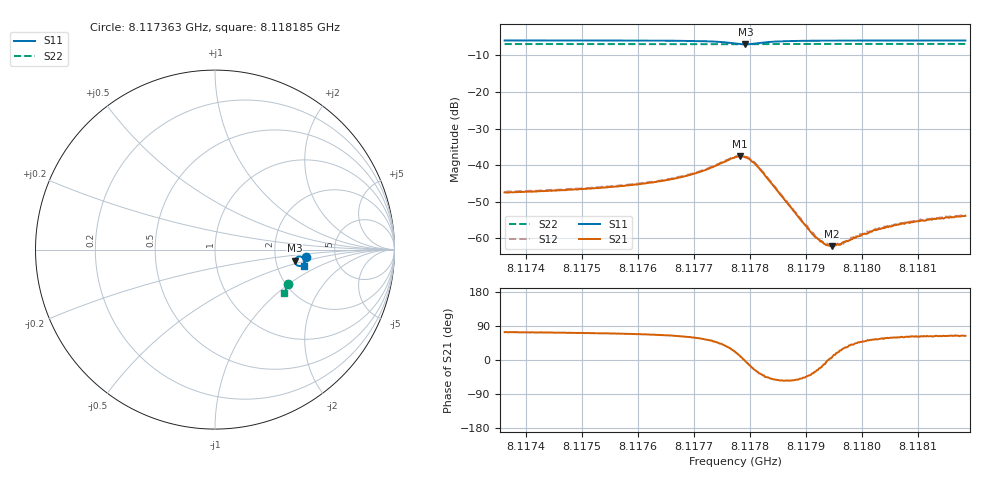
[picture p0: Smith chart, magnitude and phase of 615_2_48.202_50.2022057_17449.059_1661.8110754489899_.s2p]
#  HZ  S  RI  R  50.00
! Rohde & Schwarz Vector Network Analyzer
! Rohde-Schwarz,ZNB20-2Port,1311601062101988,3.16
! Created: UTC 3/20/2024, 12:03:40 PM
! freq[Hz]  re:S11  im:S11  re:S21  im:S21  re:S12  im:S12  re:S22  im:S22
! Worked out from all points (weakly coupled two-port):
!   401 points, 8.117363 GHz to 8.118185 GHz, reference 50 ohm
!   highest |S21| = -37.56 dB at 8.117782 GHz (marker M1); lowest = -62.1 dB at 8.117946 GHz (marker M2)
!   lowest |S11| = -7.0 dB at 8.117792 GHz (marker M3), VSWR 2.63, Z = 128 - j19.6 ohm
!   |S11| at or under -10 dB: nowhere
!   |S22| runs from -6.9 to -6.8 dB; largest |S21 - S12| = 0.00054
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8.1173625e9  0.5052 -0.043  0.00122 0.00408  0.00128 0.00412  0.4095 -0.1924
8.1175002e9  0.5033 -0.0556  0.00152 0.00447  0.00157 0.00459  0.4055 -0.2012
8.1175721e9  0.5016 -0.0629  0.00184 0.00487  0.00192 0.00496  0.4035 -0.206
8.1176379e9  0.4989 -0.0713  0.00243 0.00551  0.00254 0.00561  0.4014 -0.2101
8.1176708e9  0.4963 -0.0763  0.00299 0.006  0.00313 0.00617  0.4002 -0.2125
8.1177037e9  0.4915 -0.0825  0.00408 0.00663  0.00418 0.00674  0.399 -0.2145
8.1177735e9  0.4534 -0.0844  0.012 0.0048  0.0121 0.0049  0.3952 -0.2183
8.1177818e9  0.447 -0.076  0.013 0.00267  0.0133 0.00262  0.3948 -0.2182
8.117792e9  0.4448 -0.0611  0.0127 -0.000756  0.0131 -0.000712  0.3946 -0.2182
8.1178023e9  0.4511 -0.0476  0.011 -0.00358  0.0114 -0.00375  0.3947 -0.2184
8.1178167e9  0.4664 -0.0387  0.00744 -0.00528  0.00759 -0.0054  0.3951 -0.219
8.1178496e9  0.4892 -0.0451  0.00269 -0.00356  0.00275 -0.00364  0.395 -0.2216
8.1179112e9  0.4987 -0.0615  0.000947 -0.000664  0.000971 -0.00072  0.3933 -0.226
8.1179297e9  0.4994 -0.065  0.000857 -0.000227  0.000869 -0.000256  0.3926 -0.2274
8.1179379e9  0.4995 -0.0664  0.000809 -3.15e-05  0.000854 -6.96e-05  0.3924 -0.2278
8.1179462e9  0.4997 -0.0677  0.00078 8.22e-05  0.000812 8.21e-05  0.3922 -0.2283
8.1179647e9  0.4999 -0.0704  0.000767 0.000413  0.000796 0.000394  0.3914 -0.2296
8.1179934e9  0.4999 -0.0741  0.000731 0.00078  0.000785 0.000829  0.3907 -0.2315
8.1180181e9  0.4997 -0.077  0.000743 0.000998  0.000796 0.001  0.3896 -0.233
8.1180489e9  0.4995 -0.0804  0.000784 0.00126  0.00077 0.00129  0.3886 -0.235
8.1181085e9  0.4989 -0.0863  0.00082 0.00155  0.000822 0.00159  0.3866 -0.2388
8.1181845e9  0.4977 -0.0931  0.000903 0.00183  0.000884 0.00184  0.384 -0.2434
